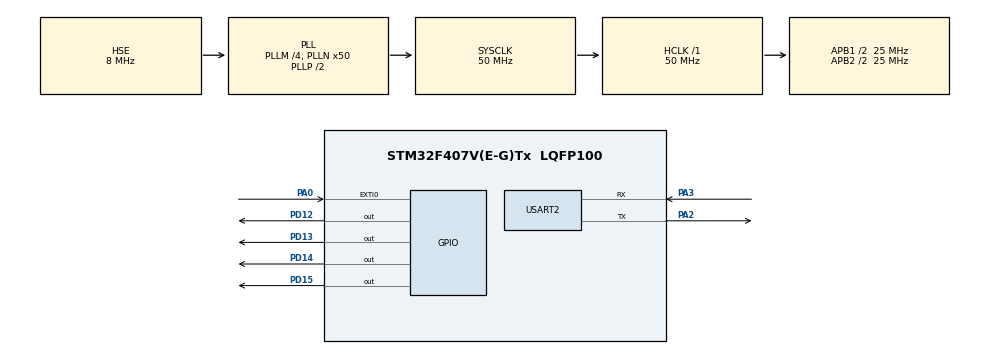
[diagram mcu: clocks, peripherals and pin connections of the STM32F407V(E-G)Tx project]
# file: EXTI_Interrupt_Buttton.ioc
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Mcu.Family=STM32F4
Mcu.Name=STM32F407V(E-G)Tx
Mcu.Package=LQFP100
NVIC.EXTI0_IRQn=true\:0\:0\:false\:false\:true\:true\:true\:true
NVIC.PriorityGroup=NVIC_PRIORITYGROUP_0
PA0-WKUP.GPIO_ModeDefaultEXTI=GPIO_MODE_IT_FALLING
PA0-WKUP.Signal=GPXTI0
PA2.Mode=Asynchronous
PA2.Signal=USART2_TX
PA3.Mode=Asynchronous
PA3.Signal=USART2_RX
PD12.Signal=GPIO_Output
PD13.Signal=GPIO_Output
PD14.Signal=GPIO_Output
PD15.Signal=GPIO_Output
PH0-OSC_IN.Mode=HSE-External-Oscillator
PH0-OSC_IN.Signal=RCC_OSC_IN
PH1-OSC_OUT.Mode=HSE-External-Oscillator
PH1-OSC_OUT.Signal=RCC_OSC_OUT
ProjectManager.HeapSize=0x200
ProjectManager.StackSize=0x400
ProjectManager.TargetToolchain=STM32CubeIDE
RCC.48MHZClocksFreq_Value=14285714.285714285
RCC.AHBFreq_Value=50000000
RCC.APB1CLKDivider=RCC_HCLK_DIV2
RCC.APB1Freq_Value=25000000
RCC.APB1TimFreq_Value=50000000
RCC.APB2CLKDivider=RCC_HCLK_DIV2
RCC.APB2Freq_Value=25000000
RCC.APB2TimFreq_Value=50000000
RCC.CortexFreq_Value=50000000
RCC.HCLKFreq_Value=50000000
RCC.HSE_VALUE=8000000
RCC.HSI_VALUE=16000000
RCC.PLLM=4
RCC.PLLN=50
RCC.PLLQ=7
RCC.PLLSourceVirtual=RCC_PLLSOURCE_HSE
RCC.SYSCLKFreq_VALUE=50000000
RCC.SYSCLKSource=RCC_SYSCLKSOURCE_PLLCLK
RCC.VCOOutputFreq_Value=100000000
USART2.VirtualMode=VM_ASYNC
board=STM32F407G-DISC1

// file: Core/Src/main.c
/* USER CODE BEGIN Header */
/**
  ******************************************************************************
  * @file           : main.c
  * @brief          : Main program body
  ******************************************************************************
  * @attention
  *
  * Copyright (c) 2023 STMicroelectronics.
  * All rights reserved.
  *
  * This software is licensed under terms that can be found in the LICENSE file
  * in the root directory of this software component.
  * If no LICENSE file comes with this software, it is provided AS-IS.
  *
  ******************************************************************************
  */
/* USER CODE END Header */
#include "main.h"

/* USER CODE BEGIN Includes */
#include<stdio.h>
#include<string.h>
/* USER CODE END Includes */

UART_HandleTypeDef huart2;

/* USER CODE BEGIN PV */
uint8_t mode=0;
/* USER CODE END PV */

void SystemClock_Config(void);
static void MX_GPIO_Init(void);
static void MX_USART2_UART_Init(void);

/* USER CODE BEGIN 0 */
void HAL_GPIO_EXTI_Callback(uint16_t GPIO_Pin){

	mode = mode+1;
	if(mode>3){
		mode=0;
	}
}
/* USER CODE END 0 */

int main(void)
{
  /* USER CODE BEGIN 1 */
char buf[50]="Application is Running\n\r";
  /* USER CODE END 1 */

  /* MCU Configuration--------------------------------------------------------*/

  /* Reset of all peripherals, Initializes the Flash interface and the Systick. */
  HAL_Init();

  /* Configure the system clock */
  SystemClock_Config();

  /* Initialize all configured peripherals */
  MX_GPIO_Init();
  MX_USART2_UART_Init();

  /* Infinite loop */
  while (1)
  {

    /* USER CODE BEGIN 3 */
	  if(mode==0){
		  HAL_GPIO_WritePin(GPIOD, GPIO_PIN_12|GPIO_PIN_13|GPIO_PIN_14|GPIO_PIN_15, GPIO_PIN_RESET);
	  	  strcpy(buf,"ALL LEDs are OFF\n\r");
	  	 HAL_Delay(1000);
	  }
	  if(mode==1){
		  HAL_GPIO_WritePin(GPIOD, GPIO_PIN_12|GPIO_PIN_13|GPIO_PIN_14|GPIO_PIN_15, GPIO_PIN_SET);
	      strcpy(buf,"ALL LEDs are ON\n\r");
	      HAL_Delay(1000);
	  }

	  if(mode==2){
		  HAL_GPIO_TogglePin(GPIOD, GPIO_PIN_12|GPIO_PIN_13|GPIO_PIN_14|GPIO_PIN_15);
	  	  HAL_Delay(1000);
	  	  strcpy(buf,"LEDs are Toggling at 1 Second\n\r");
	  }
	  if(mode==3){
		  HAL_GPIO_TogglePin(GPIOD, GPIO_PIN_12|GPIO_PIN_13|GPIO_PIN_14|GPIO_PIN_15);
	  	  strcpy(buf,"LEDs are Toggling at 500 miliSecond\n\r");
		  HAL_Delay(500);
	  }

	  HAL_UART_Transmit(&huart2, (uint8_t*)buf, strlen(buf), HAL_MAX_DELAY);

  }
  /* USER CODE END 3 */
}

void SystemClock_Config(void)
{
  RCC_OscInitTypeDef RCC_OscInitStruct = {0};
  RCC_ClkInitTypeDef RCC_ClkInitStruct = {0};

  /** Configure the main internal regulator output voltage
  */
  __HAL_RCC_PWR_CLK_ENABLE();
  __HAL_PWR_VOLTAGESCALING_CONFIG(PWR_REGULATOR_VOLTAGE_SCALE1);

  /** Initializes the RCC Oscillators according to the specified parameters
  * in the RCC_OscInitTypeDef structure.
  */
  RCC_OscInitStruct.OscillatorType = RCC_OSCILLATORTYPE_HSE;
  RCC_OscInitStruct.HSEState = RCC_HSE_ON;
  RCC_OscInitStruct.PLL.PLLState = RCC_PLL_ON;
  RCC_OscInitStruct.PLL.PLLSource = RCC_PLLSOURCE_HSE;
  RCC_OscInitStruct.PLL.PLLM = 4;
  RCC_OscInitStruct.PLL.PLLN = 50;
  RCC_OscInitStruct.PLL.PLLP = RCC_PLLP_DIV2;
  RCC_OscInitStruct.PLL.PLLQ = 7;
  if (HAL_RCC_OscConfig(&RCC_OscInitStruct) != HAL_OK)
  {
    Error_Handler();
  }

  /** Initializes the CPU, AHB and APB buses clocks
  */
  RCC_ClkInitStruct.ClockType = RCC_CLOCKTYPE_HCLK|RCC_CLOCKTYPE_SYSCLK
                              |RCC_CLOCKTYPE_PCLK1|RCC_CLOCKTYPE_PCLK2;
  RCC_ClkInitStruct.SYSCLKSource = RCC_SYSCLKSOURCE_PLLCLK;
  RCC_ClkInitStruct.AHBCLKDivider = RCC_SYSCLK_DIV1;
  RCC_ClkInitStruct.APB1CLKDivider = RCC_HCLK_DIV2;
  RCC_ClkInitStruct.APB2CLKDivider = RCC_HCLK_DIV2;

  if (HAL_RCC_ClockConfig(&RCC_ClkInitStruct, FLASH_LATENCY_1) != HAL_OK)
  {
    Error_Handler();
  }
}

static void MX_USART2_UART_Init(void)
{

  huart2.Instance = USART2;
  huart2.Init.BaudRate = 115200;
  huart2.Init.WordLength = UART_WORDLENGTH_8B;
  huart2.Init.StopBits = UART_STOPBITS_1;
  huart2.Init.Parity = UART_PARITY_NONE;
  huart2.Init.Mode = UART_MODE_TX_RX;
  huart2.Init.HwFlowCtl = UART_HWCONTROL_NONE;
  huart2.Init.OverSampling = UART_OVERSAMPLING_16;
  if (HAL_UART_Init(&huart2) != HAL_OK)
  {
    Error_Handler();
  }

}

static void MX_GPIO_Init(void)
{
  GPIO_InitTypeDef GPIO_InitStruct = {0};

  /* GPIO Ports Clock Enable */
  __HAL_RCC_GPIOH_CLK_ENABLE();
  __HAL_RCC_GPIOA_CLK_ENABLE();
  __HAL_RCC_GPIOD_CLK_ENABLE();

  /*Configure GPIO pin Output Level */
  HAL_GPIO_WritePin(GPIOD, GPIO_PIN_12|GPIO_PIN_13|GPIO_PIN_14|GPIO_PIN_15, GPIO_PIN_RESET);

  /*Configure GPIO pin : PA0 */
  GPIO_InitStruct.Pin = GPIO_PIN_0;
  GPIO_InitStruct.Mode = GPIO_MODE_IT_FALLING;
  GPIO_InitStruct.Pull = GPIO_NOPULL;
  HAL_GPIO_Init(GPIOA, &GPIO_InitStruct);

  /*Configure GPIO pins : PD12 PD13 PD14 PD15 */
  GPIO_InitStruct.Pin = GPIO_PIN_12|GPIO_PIN_13|GPIO_PIN_14|GPIO_PIN_15;
  GPIO_InitStruct.Mode = GPIO_MODE_OUTPUT_PP;
  GPIO_InitStruct.Pull = GPIO_NOPULL;
  GPIO_InitStruct.Speed = GPIO_SPEED_FREQ_LOW;
  HAL_GPIO_Init(GPIOD, &GPIO_InitStruct);

  /* EXTI interrupt init*/
  HAL_NVIC_SetPriority(EXTI0_IRQn, 0, 0);
  HAL_NVIC_EnableIRQ(EXTI0_IRQn);

}

void Error_Handler(void)
{
  __disable_irq();
  while (1)
  {
  }
}
